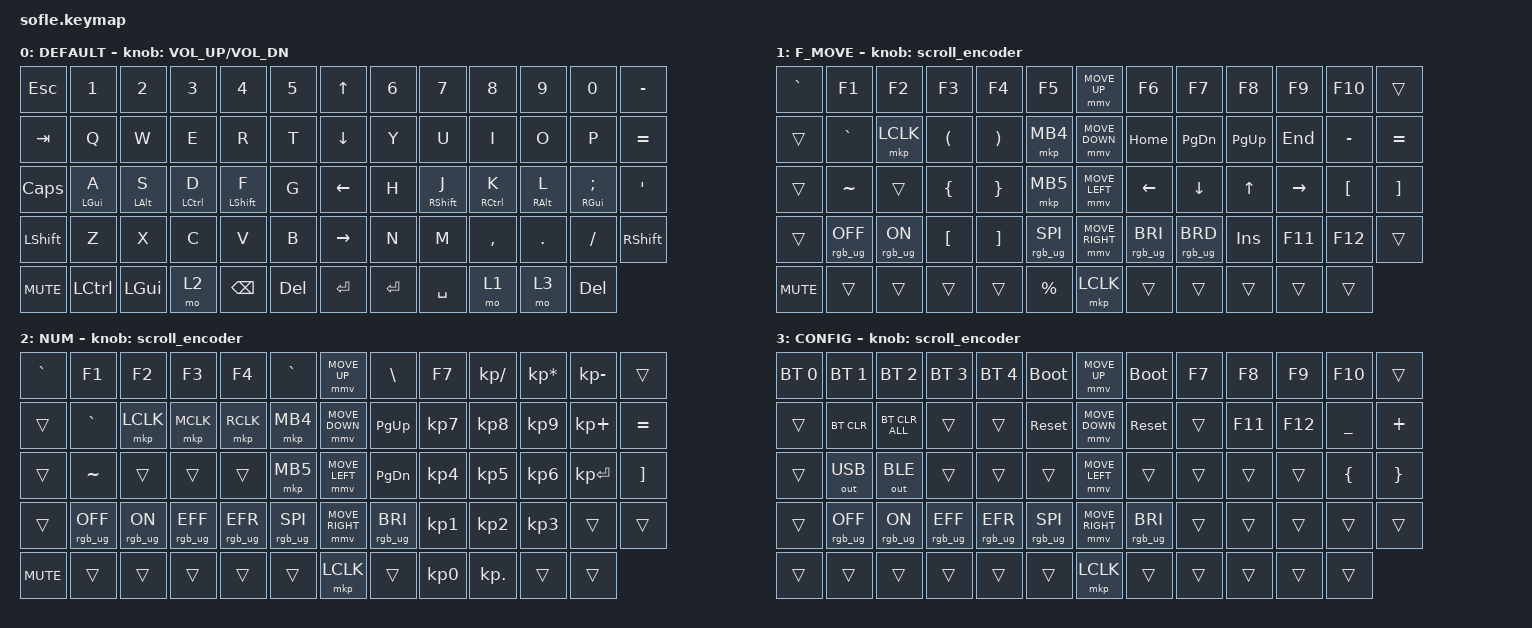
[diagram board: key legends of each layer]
#include <behaviors/mouse_keys.dtsi>
#include <behaviors.dtsi>
#include <dt-bindings/zmk/bt.h>
#include <dt-bindings/zmk/keys.h>
#include <dt-bindings/zmk/mouse.h>
#include <dt-bindings/zmk/outputs.h>
#include <dt-bindings/zmk/rgb.h>
#include "alias_sofle.h"

#define ZMK_MOUSE_DEFAULT_MOVE_VAL 1200  // 600
#define ZMK_MOUSE_DEFAULT_SCRL_VAL 20    // 10
#define U_MS_U &mmv MOVE_UP
#define U_MS_D &mmv MOVE_DOWN
#define U_MS_L &mmv MOVE_LEFT
#define U_MS_R &mmv MOVE_RIGHT
#define ZMK_MOUSE_DEFAULT_MOVE_VAL 1200  //  600
#define ZMK_MOUSE_DEFAULT_SCRL_VAL 20    // 10

// Layers
#define DEFAULT 0
#define F_MOVE 1
#define NUM 2
#define CONFIG 3

// The best home row mod (HRM) experience I've found comes with combining
// a long "tapping term" with the new "require prior idle" setting in
// ZMK's PR #1387. Using this feature, rapid typing does not generate
// accidental modifiers, but when you've been idle for a certain amount
// of time, you can easily trigger home row modifiers without waiting
// forever and a day.
//
// For another layer of safety, I also use the "hold trigger key positions"
// feature. This prevents the quick-tap behavior from firing with other
// keys on the same side of the keyboard. In essense, to type Ctrl+A, I
// must use the Ctrl key on the right half of the keyboard, since A is on
// the left half of the keyboard.
//
// Combining these two settings is honestly magical. Home row mods have
// never felt better.
//
// References:
// * https://zmk.dev/docs/behaviors/hold-tap#require-prior-idle-ms
// * https://zmk.dev/docs/behaviors/hold-tap#positional-hold-tap-and-hold-trigger-key-positions
// * https://github.com/urob/zmk-config?tab=readme-ov-file#timeless-homerow-mods

// Tap/hold behavior style
// "holdiepreferred", "balanced", "tapiepreferred", "tap-unless-interrupted"
#define HRM_BEHAVIOR "balanced"

// This is intentonally very large because of the interaction with
// require-prior-idle-ms. Basically, holding a key longer than this
// delay allows combos that don't respect the hold-trigger-key-positions
// setting, so it needs to be pretty large to prevent unintentional
// holds.
#define HRM_TAPPING_TERM_MS 280

// If pressing any other key before a HRM key within this window,
// the tap/hold configuration will be completely ignored and the
// key will always be treated as a tap. This prevents a
// long tapping-term-ms from feeling sluggish.
// Introduced in ZMK PR #1387
#define HRM_REQUIRE_PRIOR_IDLE_MS 150

// Double-tap the key within this window to hold that keystroke
// (instead of holding the modifier, press and hold the key, like
// jjjjjjjjjjjjjjjjjjjjjjjjjjjjj)
#define HRM_QUICK_TAP_MS 175



/ {
    behaviors {
        mmv {
            acceleration-exponent = <1>;      // 1
            time-to-max-speed-ms = <900>;    // 40
            delay-ms = <0>;                   // 0
        };

        msc {
            acceleration-exponent = <1>;      // 0
            time-to-max-speed-ms = <400>;      // 500
            delay-ms = <0>;                   //   10
        };
    };

    scroll_encoder: scroll_encoder {
        compatible = "zmk,behavior-sensor-rotate";
        #sensor-binding-cells = <0>;
        bindings = <&msc SCRL_DOWN>, <&msc SCRL_UP>;

        tap-ms = <30>;
    };

    hml: homerow_mods_left {
        compatible = "zmk,behavior-hold-tap";
        label = "HOMEROW_MODS_LEFT";
        flavor = HRM_BEHAVIOR;
        tapping-term-ms = <HRM_TAPPING_TERM_MS>;
        quick-tap-ms = <HRM_QUICK_TAP_MS>;
        require-prior-idle-ms = <150>;   // requires PR #1387
        hold-trigger-key-positions = <KEYS_R KEYS_T>;
        hold-trigger-on-release;       // requires PR #1423
        #binding-cells = <2>;
        bindings = <&kp>, <&kp>;
    };

    hmr: homerow_mods_right {
        compatible = "zmk,behavior-hold-tap";
        label = "HOMEROW_MODS_RIGHT";
        flavor = HRM_BEHAVIOR;
        tapping-term-ms = <HRM_TAPPING_TERM_MS>;
        quick-tap-ms = <HRM_QUICK_TAP_MS>;
        require-prior-idle-ms = <150>;   // requires PR #1387
        hold-trigger-key-positions = <KEYS_L KEYS_T>;
        hold-trigger-on-release;       // requires PR #1423
        #binding-cells = <2>;
        bindings = <&kp>, <&kp>;
    };


    keymap {
        compatible = "zmk,keymap";

        DEFAULT {
            bindings = <
&kp ESC     &kp N1        &kp N2       &kp N3         &kp N4           &kp N5       &kp UP_ARROW     &kp N6     &kp N7          &kp N8          &kp N9          &kp N0          &kp MINUS
&kp TAB     &kp Q         &kp W        &kp E          &kp R            &kp T        &kp DOWN_ARROW   &kp Y      &kp U           &kp I           &kp O           &kp P           &kp EQUAL
&kp CAPS    &hml LGUI A   &hml LALT S  &hml LCTRL D   &hml LSHFT F     &kp G        &kp LEFT_ARROW   &kp H      &hmr RSHFT J    &hmr RCTRL K    &hmr RALT L     &hmr RGUI SEMI  &kp APOS
&kp LSHFT   &kp Z         &kp X        &kp C          &kp V            &kp B        &kp RIGHT_ARROW  &kp N      &kp M           &kp COMMA       &kp DOT         &kp FSLH        &kp RSHFT
&kp C_MUTE  &kp LCTRL     &kp LEFT_GUI &mo 2          &kp BSPC         &kp DEL      &kp ENTER        &kp ENTER  &kp SPACE       &mo 1           &mo 3           &kp DELETE
            >;

            sensor-bindings = <&inc_dec_kp C_VOLUME_UP C_VOL_DN>;
            display-name = "DEFAULT";
        };

        F_MOVE {
            bindings = <
&kp GRAVE   &kp F1           &kp F2          &kp F3           &kp F4           &kp F5             &mmv MOVE_UP     &kp F6           &kp F7           &kp F8      &kp F9     &kp F10           &trans
&trans      &kp GRAVE        &mkp LCLK       &kp LPAR         &kp RPAR         &mkp MB4           &mmv MOVE_DOWN   &kp HOME         &kp PG_DN        &kp PG_UP   &kp END    &kp MINUS         &kp EQUAL
&trans      &kp TILDE        &trans          &kp LBRC         &kp RBRC         &mkp MB5           &mmv MOVE_LEFT   &kp LEFT         &kp DOWN         &kp UP      &kp RIGHT  &kp LEFT_BRACKET  &kp RIGHT_BRACKET
&trans      &rgb_ug RGB_OFF  &rgb_ug RGB_ON  &kp LBKT         &kp RBKT         &rgb_ug RGB_SPI    &mmv MOVE_RIGHT  &rgb_ug RGB_BRI  &rgb_ug RGB_BRD  &kp INSERT  &kp F11    &kp F12           &trans
&kp C_MUTE  &trans           &trans          &trans           &trans           &kp PRCNT          &mkp LCLK        &trans           &trans           &trans      &trans     &trans
            >;

            display-name = "F_MOVE";
            sensor-bindings = <&scroll_encoder>;
        };
        NUM {
            bindings = <
&kp GRAVE   &kp F1           &kp F2          &kp F3           &kp F4           &kp GRAVE          &mmv MOVE_UP     &kp BSLH         &kp F7           &kp KP_DIVIDE  &kp KP_MULTIPLY   &kp KP_MINUS  &trans
&trans      &kp GRAVE        &mkp LCLK       &mkp MCLK        &mkp RCLK        &mkp MB4           &mmv MOVE_DOWN   &kp PG_UP        &kp KP_N7        &kp KP_N8      &kp KP_N9         &kp KP_PLUS   &kp EQUAL
&trans      &kp TILDE        &trans          &trans           &trans           &mkp MB5           &mmv MOVE_LEFT   &kp PG_DN        &kp KP_N4        &kp KP_N5      &kp KP_N6         &kp KP_ENTER  &kp RIGHT_BRACKET
&trans      &rgb_ug RGB_OFF  &rgb_ug RGB_ON  &rgb_ug RGB_EFF  &rgb_ug RGB_EFR  &rgb_ug RGB_SPI    &mmv MOVE_RIGHT  &rgb_ug RGB_BRI  &kp KP_N1        &kp KP_N2      &kp KP_N3         &trans        &trans
&kp C_MUTE  &trans           &trans          &trans           &trans           &trans             &mkp LCLK        &trans           &kp KP_N0        &kp KP_DOT     &trans            &trans
            >;

            display-name = "NUM";
            sensor-bindings = <&scroll_encoder>;
        };

        CONFIG {
            bindings = <
&bt BT_SEL 0  &bt BT_SEL 1    &bt BT_SEL 2    &bt BT_SEL 3     &bt BT_SEL 4     &bootloader     &mmv MOVE_UP     &bootloader      &kp F7     &kp F8      &kp F9     &kp F10      &trans
&trans        &bt BT_CLR      &bt BT_CLR_ALL  &trans           &trans           &sys_reset      &mmv MOVE_DOWN   &sys_reset       &trans     &kp F11     &kp F12    &kp UNDER    &kp PLUS
&trans        &out OUT_USB    &out OUT_BLE    &trans           &trans           &trans          &mmv MOVE_LEFT   &trans           &trans     &trans      &trans     &kp LBRC     &kp RBRC
&trans        &rgb_ug RGB_OFF &rgb_ug RGB_ON  &rgb_ug RGB_EFF  &rgb_ug RGB_EFR  &rgb_ug RGB_SPI &mmv MOVE_RIGHT  &rgb_ug RGB_BRI  &trans     &trans      &trans     &trans       &trans
&trans        &trans          &trans          &trans           &trans           &trans          &mkp LCLK        &trans           &trans     &trans      &trans     &trans
            >;

            display-name = "CONFIG";
            sensor-bindings = <&scroll_encoder>;
        };
    };
};
